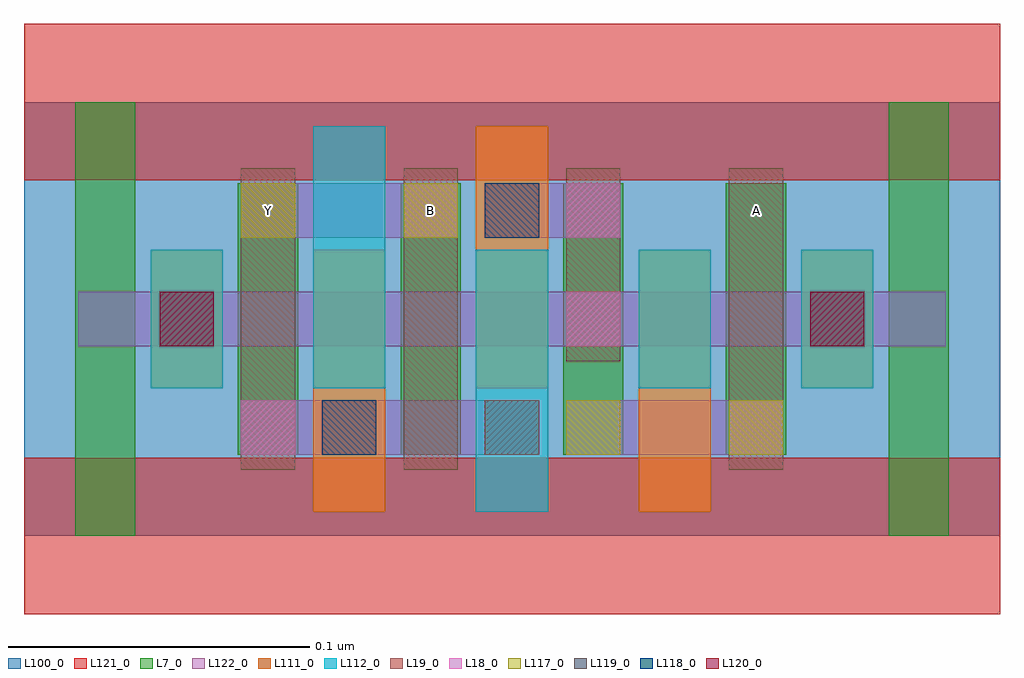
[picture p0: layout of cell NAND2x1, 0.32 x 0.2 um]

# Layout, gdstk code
import gdstk
lib = gdstk.Library(unit=1e-6, precision=2.5e-10)
def R(c, l, rs):  # rectangles x0, y0, x1, y1
    for r in rs: c.add(gdstk.rectangle(r[:2], r[2:], *l))
def A(c, l, x, y, w, h, nx, ny, dx, dy):  # array of equal rectangles
    R(c, l, [(x+i*dx, y+j*dy, x+i*dx+w, y+j*dy+h) for i in range(nx) for j in range(ny)])
L7_0 = (7, 0)
L18_0 = (18, 0)
L19_0 = (19, 0)
L100_0 = (100, 0)
L111_0 = (111, 0)
L112_0 = (112, 0)
L117_0 = (117, 0)
L118_0 = (118, 0)
L119_0 = (119, 0)
L120_0 = (120, 0)
L121_0 = (121, 0)
L122_0 = (122, 0)

nand2x1 = lib.new_cell('NAND2x1')
A(nand2x1, L7_0, 0.071, 0.027, 0.02, 0.09, 4, 1, 0.054, 0)
R(nand2x1, L7_0, [(0.017,0,0.037,0.144), (0.287,0,0.307,0.144)])
R(nand2x1, L18_0, [(0.072,0.027,0.09,0.045), (0.234,0.027,0.252,0.045), (0.18,0.063,0.198,0.081), (0.126,0.099,0.144,0.117), (0.18,0.099,0.198,0.117)])
R(nand2x1, L19_0, [(0.072,0.022,0.09,0.122), (0.126,0.022,0.144,0.122), (0.234,0.022,0.252,0.122), (0.18,0.058,0.198,0.122)])
R(nand2x1, L100_0, [(0,0,0.324,0.144)])
R(nand2x1, L111_0, [(0.096,0.008,0.12,0.095), (0.204,0.008,0.228,0.095), (0.042,0.049,0.066,0.095), (0.15,0.049,0.174,0.136), (0.258,0.049,0.282,0.095)])
R(nand2x1, L112_0, [(0.15,0.008,0.174,0.095), (0.042,0.049,0.066,0.095), (0.096,0.049,0.12,0.136), (0.204,0.049,0.228,0.095), (0.258,0.049,0.282,0.095)])
R(nand2x1, L117_0, [(0.18,0.027,0.198,0.045), (0.234,0.027,0.252,0.045), (0.072,0.099,0.09,0.117), (0.126,0.099,0.144,0.117)])
R(nand2x1, L118_0, [(0.099,0.027,0.117,0.045), (0.153,0.099,0.171,0.117)])
R(nand2x1, L119_0, [(0.153,0.027,0.171,0.045), (0.045,0.063,0.063,0.081), (0.261,0.063,0.279,0.081)])
R(nand2x1, L120_0, [(0.045,0.063,0.063,0.081), (0.261,0.063,0.279,0.081)])
R(nand2x1, L121_0, [(0,-0.026,0.324,0.026), (0,0.118,0.324,0.17)])
R(nand2x1, L122_0, [(0.072,0.027,0.171,0.045), (0.18,0.027,0.252,0.045), (0.018,0.063,0.306,0.081), (0.072,0.099,0.144,0.117), (0.153,0.099,0.198,0.117)])
nand2x1.add(gdstk.Label('Y', (0.081,0.108), layer=19, texttype=251))
nand2x1.add(gdstk.Label('B', (0.135,0.108), layer=19, texttype=251))
nand2x1.add(gdstk.Label('A', (0.243,0.108), layer=19, texttype=251))

lib.write_gds('NAND2x1.gds')
